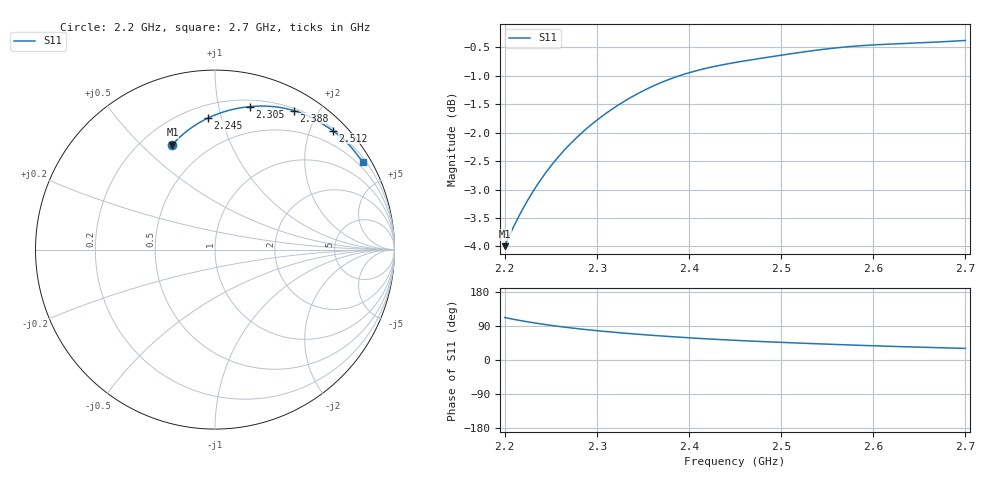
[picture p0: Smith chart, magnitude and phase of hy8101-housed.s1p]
! PRELIMINARY bare PCB unless shell_eps > 0; see README.md
! L220 output ($1N324); all Gerber copper, components omitted (C216/L220/C217 not populated)
# Hz S RI R 50
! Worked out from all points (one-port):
!   501 points, 2.2 GHz to 2.7 GHz, reference 50 ohm
!   lowest |S11| = -4.0 dB at 2.2 GHz (marker M1), VSWR 4.43, Z = 16.1 + j31.2 ohm
!   |S11| at or under -10 dB: nowhere
!   S11 on the Smith chart (normalised r, x): 2.2 GHz: 0.32, +0.62; 2.245 GHz: 0.29, +0.90; 2.305 GHz: 0.26, +1.24; 2.388 GHz: 0.23, +1.69; 2.512 GHz: 0.24, +2.38; 2.7 GHz: 0.31, +3.64
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2.2e9  -0.237 0.5852
2.202e9  -0.2288 0.5942
2.213e9  -0.1818 0.6394
2.223e9  -0.1378 0.6743
2.234e9  -0.0891 0.7062
2.245e9  -0.0409 0.732
2.254e9  -0.00217 0.7491
2.263e9  0.0355 0.7631
2.273e9  0.076 0.7753
2.283e9  0.115 0.7846
2.305e9  0.1954 0.7966
2.325e9  0.2623 0.7996
2.341e9  0.312 0.7977
2.357e9  0.3585 0.7924
2.373e9  0.4017 0.7843
2.388e9  0.4392 0.7744
2.403e9  0.4739 0.7628
2.418e9  0.5057 0.7499
2.434e9  0.5366 0.7354
2.45e9  0.5648 0.7204
2.479e9  0.6101 0.6932
2.512e9  0.6554 0.6628
2.513e9  0.6567 0.6618
2.545e9  0.6959 0.6318
2.575e9  0.7286 0.6025
2.605e9  0.7566 0.5728
2.638e9  0.7827 0.5411
2.7e9  0.8244 0.4863
